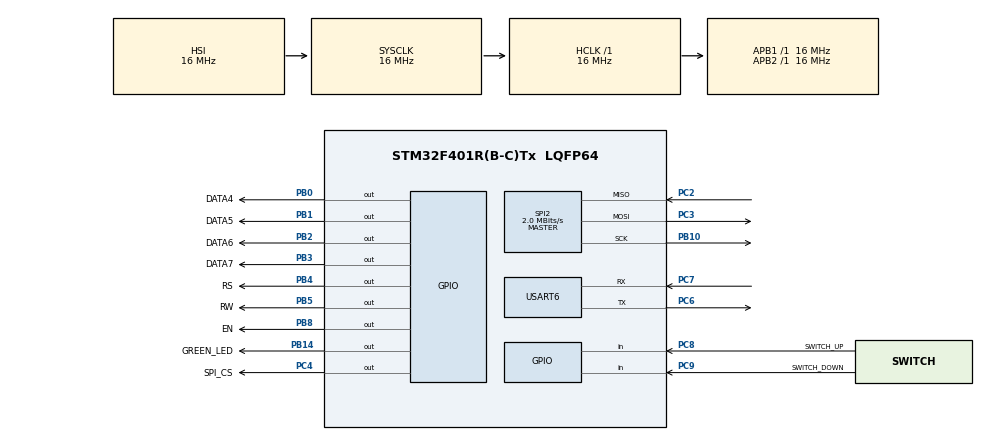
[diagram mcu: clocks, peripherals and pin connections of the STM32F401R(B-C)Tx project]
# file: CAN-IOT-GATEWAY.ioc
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Mcu.Family=STM32F4
Mcu.Name=STM32F401R(B-C)Tx
Mcu.Package=LQFP64
NVIC.PriorityGroup=NVIC_PRIORITYGROUP_4
NVIC.SPI2_IRQn=true\:0\:0\:false\:false\:true\:true\:true\:true
NVIC.USART6_IRQn=true\:0\:0\:false\:false\:true\:true\:true\:true
PA13.Mode=Serial_Wire
PA13.Signal=SYS_JTMS-SWDIO
PA14.Mode=Serial_Wire
PA14.Signal=SYS_JTCK-SWCLK
PB0.GPIO_Label=DATA4
PB0.GPIO_Speed=GPIO_SPEED_FREQ_VERY_HIGH
PB0.Signal=GPIO_Output
PB1.GPIO_Label=DATA5
PB1.GPIO_Speed=GPIO_SPEED_FREQ_VERY_HIGH
PB1.Signal=GPIO_Output
PB10.GPIO_Speed=GPIO_SPEED_FREQ_HIGH
PB10.Mode=Full_Duplex_Master
PB10.Signal=SPI2_SCK
PB14.GPIO_Label=GREEN_LED
PB14.Signal=GPIO_Output
PB2.GPIO_Label=DATA6
PB2.GPIO_Speed=GPIO_SPEED_FREQ_VERY_HIGH
PB2.Signal=GPIO_Output
PB3.GPIO_Label=DATA7
PB3.GPIO_Speed=GPIO_SPEED_FREQ_VERY_HIGH
PB3.Signal=GPIO_Output
PB4.GPIO_Label=RS
PB4.GPIO_Speed=GPIO_SPEED_FREQ_VERY_HIGH
PB4.Signal=GPIO_Output
PB5.GPIO_Label=RW
PB5.GPIO_Speed=GPIO_SPEED_FREQ_VERY_HIGH
PB5.Signal=GPIO_Output
PB8.GPIO_Label=EN
PB8.GPIO_Speed=GPIO_SPEED_FREQ_VERY_HIGH
PB8.Signal=GPIO_Output
PC2.GPIO_Speed=GPIO_SPEED_FREQ_HIGH
PC2.Mode=Full_Duplex_Master
PC2.Signal=SPI2_MISO
PC3.GPIO_Speed=GPIO_SPEED_FREQ_HIGH
PC3.Mode=Full_Duplex_Master
PC3.Signal=SPI2_MOSI
PC4.GPIO_Label=SPI_CS
PC4.GPIO_Speed=GPIO_SPEED_FREQ_HIGH
PC4.Signal=GPIO_Output
PC6.Mode=Asynchronous
PC6.Signal=USART6_TX
PC7.Mode=Asynchronous
PC7.Signal=USART6_RX
PC8.GPIO_Label=SWITCH_UP
PC8.GPIO_PuPd=GPIO_PULLUP
PC8.Signal=GPIO_Input
PC9.GPIO_Label=SWITCH_DOWN
PC9.GPIO_PuPd=GPIO_PULLUP
PC9.Signal=GPIO_Input
ProjectManager.HeapSize=0x200
ProjectManager.StackSize=0x400
ProjectManager.TargetToolchain=STM32CubeIDE
RCC.AHBFreq_Value=16000000
RCC.APB1Freq_Value=16000000
RCC.APB2Freq_Value=16000000
RCC.CortexFreq_Value=16000000
RCC.HSE_VALUE=25000000
RCC.HSI_VALUE=16000000
RCC.LSE_VALUE=32768
RCC.SYSCLKFreq_VALUE=16000000
RCC.VCOOutputFreq_Value=192000000
SPI2.BaudRatePrescaler=SPI_BAUDRATEPRESCALER_8
SPI2.CalculateBaudRate=2.0 MBits/s
SPI2.Direction=SPI_DIRECTION_2LINES
SPI2.Mode=SPI_MODE_MASTER
SPI2.VirtualType=VM_MASTER
USART6.VirtualMode=VM_ASYNC
board=custom

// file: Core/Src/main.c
/* USER CODE BEGIN Header */
/**
 * Project Name: INDUSTRIAL CAN IOT GATEWAY
 *
 * Controller: STM32F401RBT6
 *
 * Peripherals

  		Switches--->	SW_UP: PC8 SW_DN: PC9

 		SPI2------->	SPI for MCP2515:
			 	 	 	SPI2 MOSI: PC3
                        SPI2 MISO: PC2
                        SPI2 CS: PC4
                        SPI2 SCK: PB10

        UART6------->   UART6 for ESP8266:
                        UART6 TX: PC6
                        UART6 RX: PC7

        LCD Pins:--->   Data: GPIOB PB0 TO PB6 AND PB8
                        Control: GPIOB PB3

        CAN Bus:--->	MCP2515 connected to CAN_H and CAN_L.
 *
 * Team Members: MOOLA SRIKANTH REDDY
 *               MARAM AMULYA
 *               TANDRA VASANTHA LIKITHA
 *               K LAVANYA
 *               NAGIREDDY SAI KRISHNA
 *               K SATHWIK
 *
  ******************************************************************************
  * @file           : main.c
  * @brief          : Main program body
  ******************************************************************************
  * @attention
  *
  * Copyright (c) 2024 STMicroelectronics.
  * All rights reserved.
  *
  * This software is licensed under terms that can be found in the LICENSE file
  * in the root directory of this software component.
  * If no LICENSE file comes with this software, it is provided AS-IS.
  *
  ******************************************************************************
  */
/* USER CODE END Header */
#include "main.h"

/* USER CODE BEGIN PD */
#define ID_NODE_1 1
#define ID_NODE_2 2
/* USER CODE END PD */

SPI_HandleTypeDef hspi2;

UART_HandleTypeDef huart6;

/* USER CODE BEGIN PV */

uint32_t nodeID;        // Variable to store the current Node ID
uint8_t temperature;    // Variable to store the temperature value
unsigned char str[20];  // Buffer for string operations
uCAN_MSG txMessage;     // Transmit CAN message structure
uCAN_MSG rxMessage;     // Receive CAN message structure

/* USER CODE END PV */

void SystemClock_Config(void);
static void MX_GPIO_Init(void);
static void MX_SPI2_Init(void);
static void MX_USART6_UART_Init(void);
/* USER CODE BEGIN PFP */

void Gateway_Init(void);
void Task1_CAN_DataFrame(void);
void Task2_CAN_ResponseFrame(void);
void Task3_KMserver(void);
void DISPLAY_NODE_ID_AND_TEMP(void);

/* USER CODE END PFP */

int main(void)
{

  /* MCU Configuration--------------------------------------------------------*/

  /* Reset of all peripherals, Initializes the Flash interface and the Systick. */
  HAL_Init();

  /* Configure the system clock */
  SystemClock_Config();

  /* Initialize all configured peripherals */
  MX_GPIO_Init();
  MX_SPI2_Init();
  MX_USART6_UART_Init();
  /* USER CODE BEGIN 2 */
  /* Initialize the Gateway components */
  Gateway_Init();

  /* USER CODE END 2 */

  /* Infinite loop */
  /* USER CODE BEGIN WHILE */
  while (1)
  {
	Task1_CAN_DataFrame();

	Task2_CAN_ResponseFrame();

    /* USER CODE END WHILE */

  }
}

void SystemClock_Config(void)
{
  RCC_OscInitTypeDef RCC_OscInitStruct = {0};
  RCC_ClkInitTypeDef RCC_ClkInitStruct = {0};

  /** Configure the main internal regulator output voltage
  */
  __HAL_RCC_PWR_CLK_ENABLE();
  __HAL_PWR_VOLTAGESCALING_CONFIG(PWR_REGULATOR_VOLTAGE_SCALE2);

  /** Initializes the RCC Oscillators according to the specified parameters
  * in the RCC_OscInitTypeDef structure.
  */
  RCC_OscInitStruct.OscillatorType = RCC_OSCILLATORTYPE_HSI;
  RCC_OscInitStruct.HSIState = RCC_HSI_ON;
  RCC_OscInitStruct.HSICalibrationValue = RCC_HSICALIBRATION_DEFAULT;
  RCC_OscInitStruct.PLL.PLLState = RCC_PLL_NONE;
  if (HAL_RCC_OscConfig(&RCC_OscInitStruct) != HAL_OK)
  {
    Error_Handler();
  }

  /** Initializes the CPU, AHB and APB buses clocks
  */
  RCC_ClkInitStruct.ClockType = RCC_CLOCKTYPE_HCLK|RCC_CLOCKTYPE_SYSCLK
                              |RCC_CLOCKTYPE_PCLK1|RCC_CLOCKTYPE_PCLK2;
  RCC_ClkInitStruct.SYSCLKSource = RCC_SYSCLKSOURCE_HSI;
  RCC_ClkInitStruct.AHBCLKDivider = RCC_SYSCLK_DIV1;
  RCC_ClkInitStruct.APB1CLKDivider = RCC_HCLK_DIV1;
  RCC_ClkInitStruct.APB2CLKDivider = RCC_HCLK_DIV1;

  if (HAL_RCC_ClockConfig(&RCC_ClkInitStruct, FLASH_LATENCY_0) != HAL_OK)
  {
    Error_Handler();
  }
}

static void MX_SPI2_Init(void)
{

  /* SPI2 parameter configuration*/
  hspi2.Instance = SPI2;
  hspi2.Init.Mode = SPI_MODE_MASTER;
  hspi2.Init.Direction = SPI_DIRECTION_2LINES;
  hspi2.Init.DataSize = SPI_DATASIZE_8BIT;
  hspi2.Init.CLKPolarity = SPI_POLARITY_LOW;
  hspi2.Init.CLKPhase = SPI_PHASE_1EDGE;
  hspi2.Init.NSS = SPI_NSS_SOFT;
  hspi2.Init.BaudRatePrescaler = SPI_BAUDRATEPRESCALER_8;
  hspi2.Init.FirstBit = SPI_FIRSTBIT_MSB;
  hspi2.Init.TIMode = SPI_TIMODE_DISABLE;
  hspi2.Init.CRCCalculation = SPI_CRCCALCULATION_DISABLE;
  hspi2.Init.CRCPolynomial = 10;
  if (HAL_SPI_Init(&hspi2) != HAL_OK)
  {
    Error_Handler();
  }

}

static void MX_USART6_UART_Init(void)
{

  huart6.Instance = USART6;
  huart6.Init.BaudRate = 115200;
  huart6.Init.WordLength = UART_WORDLENGTH_8B;
  huart6.Init.StopBits = UART_STOPBITS_1;
  huart6.Init.Parity = UART_PARITY_NONE;
  huart6.Init.Mode = UART_MODE_TX_RX;
  huart6.Init.HwFlowCtl = UART_HWCONTROL_NONE;
  huart6.Init.OverSampling = UART_OVERSAMPLING_16;
  if (HAL_UART_Init(&huart6) != HAL_OK)
  {
    Error_Handler();
  }

}

static void MX_GPIO_Init(void)
{
  GPIO_InitTypeDef GPIO_InitStruct = {0};

  /* GPIO Ports Clock Enable */
  __HAL_RCC_GPIOC_CLK_ENABLE();
  __HAL_RCC_GPIOB_CLK_ENABLE();
  __HAL_RCC_GPIOA_CLK_ENABLE();

  /*Configure GPIO pin Output Level */
  HAL_GPIO_WritePin(SPI_CS_GPIO_Port, SPI_CS_Pin, GPIO_PIN_RESET);

  /*Configure GPIO pin Output Level */
  HAL_GPIO_WritePin(GPIOB, DATA4_Pin|DATA5_Pin|DATA6_Pin|GREEN_LED_Pin
                          |DATA7_Pin|RS_Pin|RW_Pin|EN_Pin, GPIO_PIN_RESET);

  /*Configure GPIO pin : SPI_CS_Pin */
  GPIO_InitStruct.Pin = SPI_CS_Pin;
  GPIO_InitStruct.Mode = GPIO_MODE_OUTPUT_PP;
  GPIO_InitStruct.Pull = GPIO_NOPULL;
  GPIO_InitStruct.Speed = GPIO_SPEED_FREQ_HIGH;
  HAL_GPIO_Init(SPI_CS_GPIO_Port, &GPIO_InitStruct);

  /*Configure GPIO pins : DATA4_Pin DATA5_Pin DATA6_Pin DATA7_Pin
                           RS_Pin RW_Pin EN_Pin */
  GPIO_InitStruct.Pin = DATA4_Pin|DATA5_Pin|DATA6_Pin|DATA7_Pin
                          |RS_Pin|RW_Pin|EN_Pin;
  GPIO_InitStruct.Mode = GPIO_MODE_OUTPUT_PP;
  GPIO_InitStruct.Pull = GPIO_NOPULL;
  GPIO_InitStruct.Speed = GPIO_SPEED_FREQ_VERY_HIGH;
  HAL_GPIO_Init(GPIOB, &GPIO_InitStruct);

  /*Configure GPIO pin : GREEN_LED_Pin */
  GPIO_InitStruct.Pin = GREEN_LED_Pin;
  GPIO_InitStruct.Mode = GPIO_MODE_OUTPUT_PP;
  GPIO_InitStruct.Pull = GPIO_NOPULL;
  GPIO_InitStruct.Speed = GPIO_SPEED_FREQ_LOW;
  HAL_GPIO_Init(GREEN_LED_GPIO_Port, &GPIO_InitStruct);

  /*Configure GPIO pins : SWITCH_UP_Pin SWITCH_DOWN_Pin */
  GPIO_InitStruct.Pin = SWITCH_UP_Pin|SWITCH_DOWN_Pin;
  GPIO_InitStruct.Mode = GPIO_MODE_INPUT;
  GPIO_InitStruct.Pull = GPIO_PULLUP;
  HAL_GPIO_Init(GPIOC, &GPIO_InitStruct);

}

/* USER CODE BEGIN 4 */
void Gateway_Init(void)
{
    // Initialize MCP2515 (CAN via SPI)
    if (!CANSPI_Initialize()) {
        Error_Handler(); // Initialization failed
    }

    // Initialize LCD (for temperature display)
    KM_LCD_Init();
    KM_LCD_Write_Cmd(0x01);  // Clear display
    HAL_Delay(50);
    custom_degree();
	char str1[20] = "   WELCOME TO ";
	char str2[20]= "CAN IOT GATEWAY!";
	KM_LCD_Write_Cmd(0x01);  // Clear display
	KM_LCD_Write_Cmd(0x80);  // Move to first line
    KM_LCD_Write_Str(str1);
    KM_LCD_Write_Cmd(0xC0);  // Move to second line
    KM_LCD_Write_Str(str2);
    HAL_Delay(6000);

    char str3[20] = "    <WI-FI>   ";
    char str4[20]= "<INITIALISATION>";
	KM_LCD_Write_Cmd(0x01);  // Clear display
	KM_LCD_Write_Cmd(0x80);  // Move to first line
	KM_LCD_Write_Str(str3);
	KM_LCD_Write_Cmd(0xC0);  // Move to second line
	KM_LCD_Write_Str(str4);
    // Initialize Wi-Fi module (ESP8266)
            Wifi_Init();

    char str5[20] = "SELECT ANY NODE?";
	char str6[20]= "<1>SW-UP<2>SW-DN";
	KM_LCD_Write_Cmd(0x01);  // Clear display
	KM_LCD_Write_Cmd(0x80);  // Move to first line
	KM_LCD_Write_Str(str5);
	KM_LCD_Write_Cmd(0xC0);  // Move to second line
	KM_LCD_Write_Str(str6);

}

// Task 1: Producer Task
void Task1_CAN_DataFrame(void)
{
    // Monitor switches for user input
    if (!(HAL_GPIO_ReadPin(GPIOC, GPIO_PIN_8))) // UP button
    {
    	HAL_Delay(200); // Debounce delay
    	txMessage.frame.id = ID_NODE_1;
        txMessage.frame.idType = 0;
        txMessage.frame.dlc = 0;
        CANSPI_Transmit(&txMessage);

    }
    else if (!(HAL_GPIO_ReadPin(GPIOC, GPIO_PIN_9))) // DOWN button
    {
    	HAL_Delay(200); // Debounce delay
    	txMessage.frame.id = ID_NODE_2;
        txMessage.frame.idType = 0;
        txMessage.frame.dlc = 0;
        CANSPI_Transmit(&txMessage);

    }
}

// Task 2: Consumer Task
void Task2_CAN_ResponseFrame(void)
{
    if (CANSPI_Receive(&rxMessage))
    {
        nodeID = rxMessage.frame.id;
        temperature = rxMessage.frame.data0; //temperature is in data0
      // Display temperature on LCD
        DISPLAY_NODE_ID_AND_TEMP();
        Task3_KMserver();
    }
}

// Task 3: Send to Server
void Task3_KMserver(void)
{

	Wifi_Transmit();

}

void DISPLAY_NODE_ID_AND_TEMP(void)
{
		//custom_degree();
		if( nodeID == ID_NODE_1 )
		{

		char str1[20] = "NODE 1 ";
		char str2[15]= "TEMP ";
		char str3[10];
		char str4[5]= "C";
		char str5[16]= "UPLOADED TO SERV";

	   // Display Node information
		itoa(temperature,str3);
		KM_LCD_Write_Cmd(0x01);  // Clear display
		KM_LCD_Write_Cmd(0x80);  // Move to first line
		KM_LCD_Write_Str(str1);

	   // Display temperature
		KM_LCD_Write_Str(str2);
		KM_LCD_Write_Str(str3);
		KM_LCD_Write_Data(0);
		KM_LCD_Write_Str(str4);
		KM_LCD_Write_Cmd(0xC0);  // Move to second line
		KM_LCD_Write_Str(str5);

		}

        if( nodeID == ID_NODE_2 )
        {

        char str1[20] = "NODE 2 ";
        char str2[15]= "TEMP ";
        char str3[10];
        char str4[5]= "C";
        char str5[16]= "UPLOADED TO SERV";

	   // Display Node information
		itoa(temperature,str3);
		KM_LCD_Write_Cmd(0x01);  // Clear display
		KM_LCD_Write_Cmd(0x80);  // Move to first line
		KM_LCD_Write_Str(str1);

	   // Display temperature
		KM_LCD_Write_Str(str2);
		KM_LCD_Write_Str(str3);
		KM_LCD_Write_Data(0);
		KM_LCD_Write_Str(str4);
		KM_LCD_Write_Cmd(0xC0);  // Move to second line
		KM_LCD_Write_Str(str5);
        }
}

/* USER CODE END 4 */

void Error_Handler(void)
{
  __disable_irq();
  while (1)
  {
  }
}
